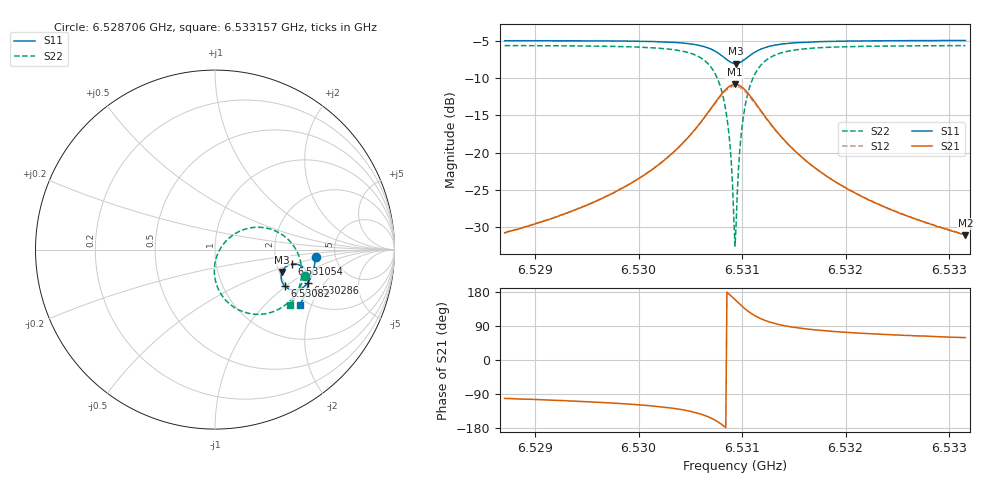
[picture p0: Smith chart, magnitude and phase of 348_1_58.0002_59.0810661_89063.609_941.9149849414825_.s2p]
#  HZ  S  RI  R  50.00
! Rohde & Schwarz Vector Network Analyzer
! Rohde-Schwarz,ZNB20-2Port,1311601062101988,3.16
! Created: UTC 3/21/2024, 1:05:53 AM
! freq[Hz]  re:S11  im:S11  re:S21  im:S21  re:S12  im:S12  re:S22  im:S22
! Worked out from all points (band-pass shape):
!   401 points, 6.528706 GHz to 6.533157 GHz, reference 50 ohm
!   highest |S21| = -10.87 dB at 6.530932 GHz (marker M1); lowest = -31.1 dB at 6.533157 GHz (marker M2)
!   |S21| within 3 dB of the highest: 6.53071 GHz to 6.531155 GHz (444.6 kHz wide, 0.00681 % of centre)
!   lowest |S11| = -8.1 dB at 6.530943 GHz (marker M3), VSWR 2.30, Z = 104 - j30.7 ohm
!   |S11| at or under -10 dB: nowhere
!   |S22| runs from -32.5 to -5.7 dB; largest |S21 - S12| = 0.011
!   S11 on the Smith chart (normalised r, x): 6.528706 GHz: 3.51, -0.42; 6.530286 GHz: 2.62, -1.38; 6.53082 GHz: 1.95, -0.97; 6.531054 GHz: 2.43, -0.49; 6.533157 GHz: 1.82, -1.65
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6.5287061e9  0.56 -0.0412  -0.00575 -0.0285  -0.00629 -0.0283  0.5006 -0.1445
6.5294516e9  0.5511 -0.1022  -0.0143 -0.0405  -0.0152 -0.0404  0.4723 -0.2119
6.5301972e9  0.5247 -0.1739  -0.0454 -0.0698  -0.0473 -0.0688  0.3964 -0.3047
6.5302862e9  0.5179 -0.1842  -0.0546 -0.0761  -0.0567 -0.0744  0.3766 -0.3193
6.5304977e9  0.4921 -0.2099  -0.0928 -0.092  -0.0955 -0.0889  0.3002 -0.3532
6.5306534e9  0.4547 -0.2252  -0.1511 -0.0951  -0.1533 -0.0892  0.1927 -0.3562
6.5307536e9  0.4161 -0.221  -0.2109 -0.0722  -0.2107 -0.0638  0.0903 -0.3097
6.5308204e9  0.3874 -0.2017  -0.2537 -0.0285  -0.2499 -0.0195  0.0235 -0.2298
6.530876e9  0.3707 -0.1711  -0.2755 0.0311  -0.268 0.0384  -0.00384 -0.1271
6.5309094e9  0.3684 -0.1482  -0.2748 0.0733  -0.2658 0.0787  0.00379 -0.0572
6.5309205e9  0.3694 -0.1403  -0.2719 0.0875  -0.2627 0.0921  0.011 -0.0342
6.5309316e9  0.3711 -0.1326  -0.2674 0.1015  -0.2579 0.1052  0.0204 -0.012
6.5309428e9  0.3737 -0.1251  -0.2618 0.115  -0.252 0.1176  0.032 0.00928
6.5309539e9  0.3771 -0.118  -0.2545 0.1278  -0.2451 0.1296  0.0457 0.0291
6.5309761e9  0.386 -0.1052  -0.2371 0.1505  -0.2281 0.1508  0.0779 0.0638
6.5309984e9  0.397 -0.0949  -0.2163 0.169  -0.2083 0.1679  0.115 0.0907
6.531054e9  0.4283 -0.0812  -0.1598 0.1941  -0.1541 0.1914  0.213 0.1233
6.5311319e9  0.4664 -0.0846  -0.0925 0.1923  -0.0894 0.1897  0.3264 0.1082
6.5312432e9  0.4987 -0.1072  -0.0355 0.1629  -0.034 0.1615  0.419 0.0446
6.5316772e9  0.5199 -0.1829  0.0139 0.0803  0.0149 0.0802  0.4829 -0.131
6.5324228e9  0.4995 -0.2556  0.0164 0.0385  0.0172 0.0384  0.4551 -0.2461
6.5331572e9  0.4712 -0.3093  0.0144 0.024  0.0149 0.0239  0.4194 -0.3082
